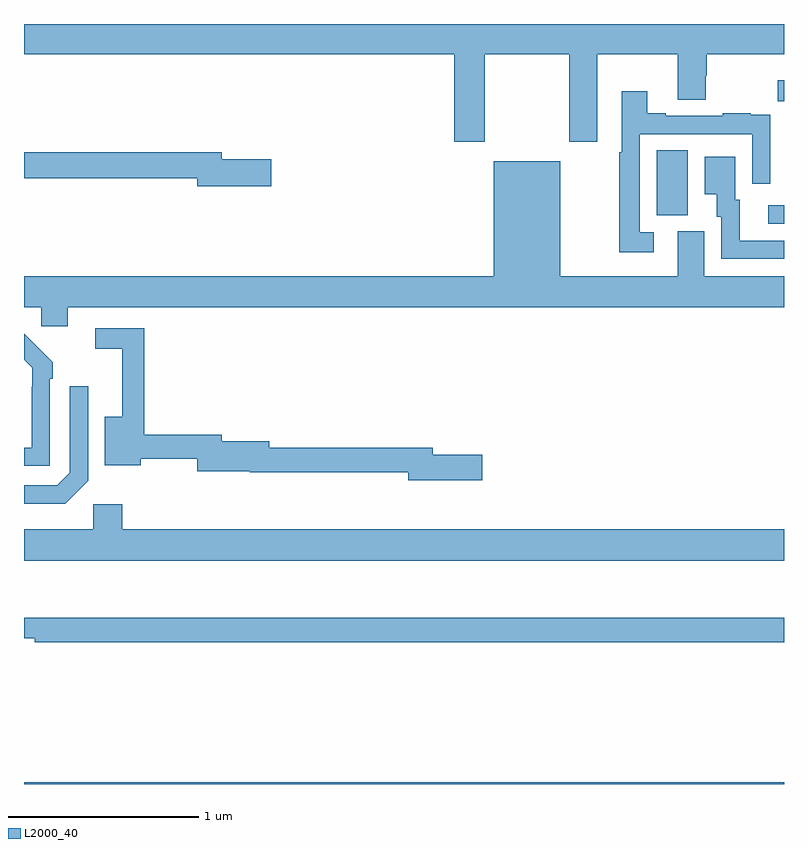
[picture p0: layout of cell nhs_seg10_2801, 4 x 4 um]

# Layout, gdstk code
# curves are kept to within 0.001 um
import gdstk
lib = gdstk.Library(unit=1e-6, precision=1e-09)
def R(c, l, rs):  # rectangles x0, y0, x1, y1
    for r in rs: c.add(gdstk.rectangle(r[:2], r[2:], *l))
def P(c, l, *ps):  # polygons
    for p in ps: c.add(gdstk.Polygon(p, *l))
L2000_40 = (2000, 40)

nhs_seg10_2801 = lib.new_cell('nhs_seg10_2801')
R(nhs_seg10_2801, L2000_40, [(263,1272.5,267,1272.508), (266.916,1275.45,267,1275.546), (266.33,1275.493,266.494,1275.836), (266.967,1276.094,267,1276.204)])
P(nhs_seg10_2801, L2000_40, [(265.425,1276.34),(265.87,1276.34),(265.87,1275.879),(266.017,1275.879),(266.017,1276.34),(266.441,1276.34),(266.441,1276.102),(266.589,1276.102),(266.589,1276.227),(266.594,1276.227),(266.594,1276.34),(267,1276.34),(267,1276.5),(263,1276.5),(263,1276.34),(265.265,1276.34),(265.265,1275.879),(265.425,1275.879)],
  [(266.314,1275.405),(266.241,1275.405),(266.241,1275.921),(266.832,1275.921),(266.832,1275.66),(266.928,1275.66),(266.928,1275.914),(266.927,1275.914),(266.927,1276.023),(266.825,1276.023),(266.825,1276.03),(266.677,1276.03),(266.677,1276.017),(266.377,1276.017),(266.377,1276.03),(266.281,1276.03),(266.281,1276.147),(266.145,1276.147),(266.145,1275.824),(266.133,1275.824),(266.133,1275.3),(266.314,1275.3)],
  [(264.301,1275.788),(264.04,1275.788),(264.04,1275.824),(263,1275.824),(263,1275.688),(263.912,1275.688),(263.912,1275.646),(264.301,1275.646)],
  [(267,1275.36),(266.767,1275.36),(266.767,1275.576),(266.743,1275.576),(266.743,1275.802),(266.582,1275.802),(266.582,1275.605),(266.645,1275.605),(266.645,1275.486),(266.67,1275.486),(266.67,1275.264),(267,1275.264)],
  [(263.23,1275.008),(267,1275.008),(267,1275.172),(266.581,1275.172),(266.581,1275.408),(266.441,1275.408),(266.441,1275.172),(265.822,1275.172),(265.822,1275.778),(265.472,1275.778),(265.472,1275.172),(263,1275.172),(263,1275.008),(263.091,1275.008),(263.091,1274.91),(263.23,1274.91)],
  [(265.411,1274.234),(265.15,1274.234),(265.15,1274.27),(264.292,1274.27),(264.292,1274.303),(264.04,1274.303),(264.04,1274.339),(263.633,1274.339),(263.633,1274.898),(263.376,1274.898),(263.376,1274.79),(263.516,1274.79),(263.516,1274.434),(263.426,1274.434),(263.426,1274.177),(263.614,1274.177),(263.614,1274.211),(263.912,1274.211),(263.912,1274.146),(264.188,1274.146),(264.188,1274.142),(265.022,1274.142),(265.022,1274.099),(265.411,1274.099)],
  [(263.136,1274.633),(263.151,1274.633),(263.151,1274.721),(263,1274.87),(263,1274.734),(263.043,1274.691),(263.043,1274.591),(263.04,1274.591),(263.04,1274.271),(263,1274.271),(263,1274.175),(263.136,1274.175)],
  [(263.337,1274.097),(263.337,1274.593),(263.241,1274.593),(263.241,1274.139),(263.175,1274.073),(263,1274.073),(263,1273.976),(263.216,1273.976)],
  [(267,1273.84),(263.516,1273.84),(263.516,1273.972),(263.364,1273.972),(263.364,1273.84),(263,1273.84),(263,1273.676),(267,1273.676)],
  [(267,1273.375),(263,1273.375),(263,1273.266),(263.056,1273.266),(263.056,1273.246),(267,1273.246)])

lib.write_gds('nhs_seg10_2801.gds')
